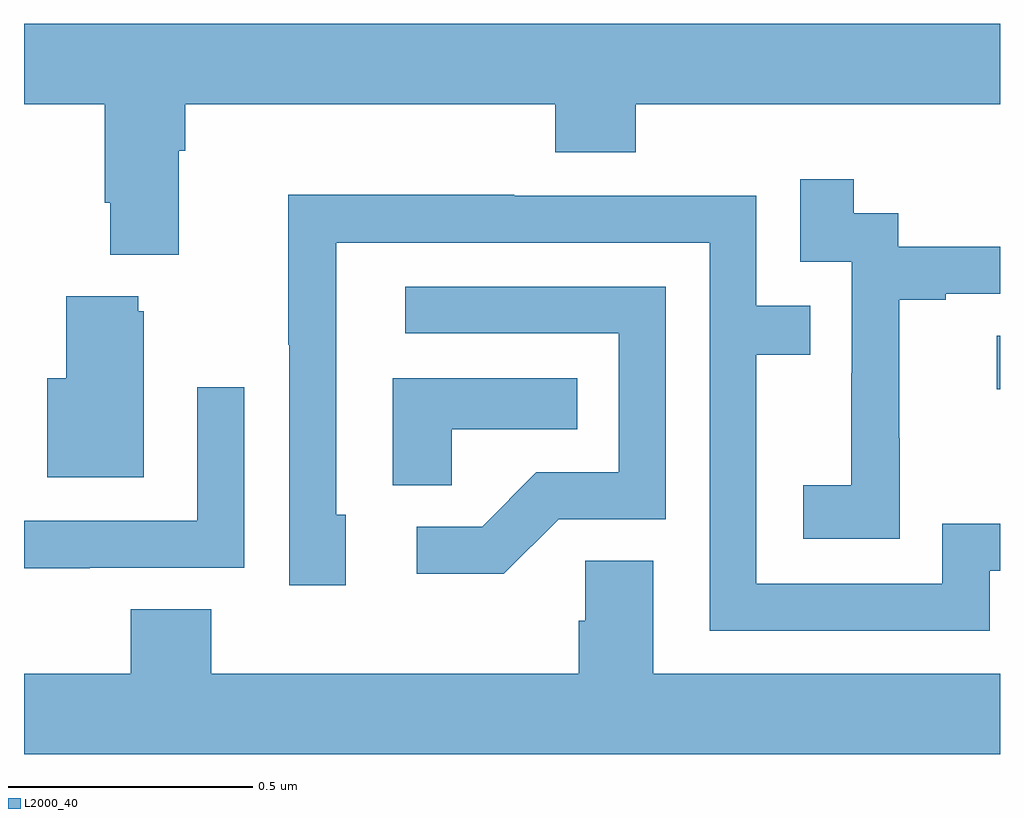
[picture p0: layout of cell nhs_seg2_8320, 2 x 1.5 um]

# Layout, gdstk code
import gdstk
lib = gdstk.Library(unit=1e-6, precision=1e-09)
def R(c, l, rs):  # rectangles x0, y0, x1, y1
    for r in rs: c.add(gdstk.rectangle(r[:2], r[2:], *l))
def P(c, l, *ps):  # polygons
    for p in ps: c.add(gdstk.Polygon(p, *l))
L2000_40 = (2000, 40)

nhs_seg2_8320 = lib.new_cell('nhs_seg2_8320')
R(nhs_seg2_8320, L2000_40, [(216.993,617.747,217,617.857)])
P(nhs_seg2_8320, L2000_40, [(215.317,618.236),(215.33,618.236),(215.33,618.332),(216.089,618.332),(216.089,618.233),(216.254,618.233),(216.254,618.332),(217,618.332),(217,618.496),(215,618.496),(215,618.332),(215.165,618.332),(215.165,618.13),(215.177,618.13),(215.177,618.023),(215.317,618.023)],
  [(216.795,617.647),(216.794,617.647),(216.794,617.931),(216.889,617.931),(216.889,617.943),(217,617.943),(217,618.039),(216.792,618.039),(216.792,618.108),(216.7,618.108),(216.7,618.178),(216.591,618.178),(216.591,618.009),(216.696,618.009),(216.696,617.78),(216.695,617.78),(216.695,617.551),(216.597,617.551),(216.597,617.441),(216.795,617.441)],
  [(216.979,617.376),(217,617.376),(217,617.472),(216.882,617.472),(216.882,617.349),(216.501,617.349),(216.501,617.818),(216.611,617.818),(216.611,617.919),(216.501,617.919),(216.501,618.144),(216.005,618.144),(216.005,618.146),(215.542,618.146),(215.542,617.839),(215.544,617.839),(215.544,617.346),(215.659,617.346),(215.659,617.49),(215.64,617.49),(215.64,618.048),(216.405,618.048),(216.405,617.253),(216.979,617.253)],
  [(216.096,617.481),(216.315,617.481),(216.315,617.958),(215.781,617.958),(215.781,617.862),(216.219,617.862),(216.219,617.577),(216.05,617.577),(215.939,617.466),(215.805,617.466),(215.805,617.369),(215.983,617.369)],
  [(215.245,617.907),(215.234,617.907),(215.234,617.938),(215.087,617.938),(215.087,617.77),(215.048,617.77),(215.048,617.567),(215.245,617.567)],
  [(215.877,617.666),(216.134,617.666),(216.134,617.77),(215.756,617.77),(215.756,617.551),(215.877,617.551)],
  [(215.135,617.382),(215.451,617.382),(215.451,617.752),(215.355,617.752),(215.355,617.478),(215,617.478),(215,617.381),(215.135,617.381)],
  [(217,617.164),(216.289,617.164),(216.289,617.396),(216.15,617.396),(216.15,617.273),(216.137,617.273),(216.137,617.164),(215.384,617.164),(215.384,617.297),(215.219,617.297),(215.219,617.164),(215,617.164),(215,617),(217,617)])

lib.write_gds('nhs_seg2_8320.gds')
